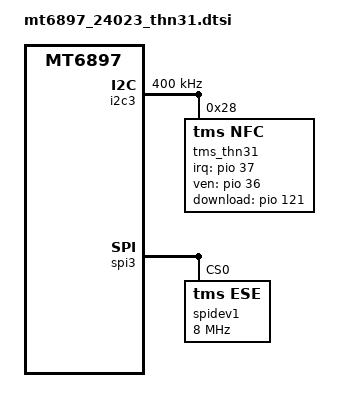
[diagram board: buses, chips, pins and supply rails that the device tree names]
/**********************************************************************************
* Copyright (c)  2008-2020  Guangdong oplus Mobile Comm Corp., Ltd
*
***********************************************************************************/
&odm {
        nfc_chipset:nfc_chipset {
                compatible = "oplus-nfc-chipset";
                chipset-24023 = "THN31";

        };
};


&i2c3 {
       status = "okay";
       clock-frequency = <400000>;

       tms_thn31@28 {
               compatible = "tms,nfc";
               reg = <0x28>;
               tms,irq-gpio = <&pio  37 0x0>;
               tms,ven-gpio = <&pio 36 0x0>;
               tms,download-gpio = <&pio 121 0x0>;
               //pn544-clkreq = <&pio 151 0x0>;
               interrupt-parent = <&pio>;
       };
};
&spi3 {
       status = "okay";
       #address-cells = <1>;
       #size-cells = <0>;
       spidev1: ese@1 {
       compatible = "tms,ese";
       reg = <0>;
       spi-max-frequency = <8000000>;
       tms,device-name    = "tms_ese";
       tms,device-count   = <1>;
       };
};
